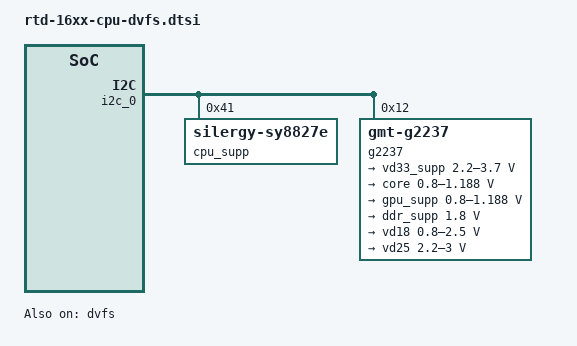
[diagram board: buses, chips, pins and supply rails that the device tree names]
/*
 * RTD-16XX Generic CPU DVFS
 */
#include <dt-bindings/regulator/gmt,g2237.h>
#include <dt-bindings/thermal/thermal.h>

/* PMIC */
&i2c_0 {
	status = "okay";

	cpu_supp: 8827e@00 {
		compatible = "silergy-sy8827e";
		reg = <0x41>;
		regulator-name = "cpudvs";
		regulator-min-microvolt = <712500>;
		regulator-max-microvolt = <1500000>;
		regulator-ramp-delay = <2000>;
		regulator-boot-on;
		regulator-always-on;
		status = "okay";
	};

	g2237: g2237@12 {
		compatible = "gmt-g2237";
		reg = <0x12>;
		status = "okay";

		vd33_supp: dc1 {
			regulator-name = "vd33";
			regulator-min-microvolt = <2200000>;
			regulator-max-microvolt = <3700000>;

			regulator-boot-on;
			regulator-always-on;
			regulator-initial-mode = <G2237_DC_MODE_FORCE_PWM>;

		};
		dc2 {
			regulator-name = "core";
			regulator-min-microvolt = <800000>;
			regulator-max-microvolt = <1187500>;

			regulator-boot-on;
			regulator-always-on;
			regulator-initial-mode = <G2237_DC_MODE_AUTO>;
		};
		gpu_supp: dc3 {
			regulator-name = "gpudvs";
			regulator-min-microvolt = <800000>;
			regulator-max-microvolt = <1187500>;

			regulator-boot-on;
			regulator-always-on;
			regulator-initial-mode = <G2237_DC_MODE_AUTO>;
			regulator-state-mem {
				regulator-off-in-suspend;
			};
		};
		ddr_supp: dc4 {
			regulator-name = "ddr";
			regulator-min-microvolt = <1800000>;
			regulator-max-microvolt = <1800000>;
			regulator-boot-on;
			regulator-always-on;
			regulator-initial-mode = <G2237_DC_MODE_AUTO>;
			regulator-state-coldboot {
				regulator-off-in-suspend;
			};

		};
		dc5 {
			regulator-name = "vd18";
			regulator-min-microvolt = <800000>;
			regulator-max-microvolt = <2500000>;

			regulator-boot-on;
			regulator-always-on;
			regulator-initial-mode = <G2237_DC_MODE_AUTO>;
		};
		ldo1 {
			regulator-name = "vd25";
			regulator-min-microvolt = <2200000>;
			regulator-max-microvolt = <3000000>;

			regulator-boot-on;
			regulator-always-on;
			regulator-initial-mode = <G2237_LDO_MODE_NORMAL>;
			regulator-state-coldboot {
				regulator-off-in-suspend;
			};
		};
	};
};

/* CPU nodes */
&A55_0 {
	clocks = <&cc CC_PLL_SCPU>;
	cpu-supply = <&cpu_supp>;
	operating-points-v2 = <&cpu_opps>;
	cooling-min-level = <0>;
	cooling-max-level = <9>;
	#cooling-cells = <2>;
};

&A55_1 {
	clocks = <&cc CC_PLL_SCPU>;
	cpu-supply = <&cpu_supp>;
	operating-points-v2 = <&cpu_opps>;
	cooling-min-level = <0>;
	cooling-max-level = <9>;
	#cooling-cells = <2>;
};

&A55_2 {
	clocks = <&cc CC_PLL_SCPU>;
	cpu-supply = <&cpu_supp>;
	operating-points-v2 = <&cpu_opps>;
	cooling-min-level = <0>;
	cooling-max-level = <9>;
	#cooling-cells = <2>;
};

&A55_3 {
	clocks = <&cc CC_PLL_SCPU>;
	cpu-supply = <&cpu_supp>;
	operating-points-v2 = <&cpu_opps>;
	cooling-min-level = <0>;
	cooling-max-level = <9>;
	#cooling-cells = <2>;
};

&A55_4 {
	clocks = <&cc CC_PLL_SCPU>;
	cpu-supply = <&cpu_supp>;
	operating-points-v2 = <&cpu_opps>;
	cooling-min-level = <0>;
	cooling-max-level = <9>;
	#cooling-cells = <2>;
};

&A55_5 {
	clocks = <&cc CC_PLL_SCPU>;
	cpu-supply = <&cpu_supp>;
	operating-points-v2 = <&cpu_opps>;
	cooling-min-level = <0>;
	cooling-max-level = <9>;
	#cooling-cells = <2>;
};

/* cpu opp table */
&dvfs {
	cpu-supply = <&cpu_supp>;
	status = "okay";

	cpu_opps: cpu-opp-table {
		compatible = "operating-points-v2";
		opp-shared;
		opp300: opp-300mhz {
			opp-hz = /bits/ 64 <300000000>;
			opp-microvolt = <825000>;
			clock-latency-ns = <150000>;
			status = "okay";
		};
		opp400: opp-400mhz {
			opp-hz = /bits/ 64 <400000000>;
			opp-microvolt = <825000>;
			clock-latency-ns = <150000>;
			status = "okay";
		};
		opp500: opp-500mhz {
			opp-hz = /bits/ 64 <500000000>;
			opp-microvolt = <825000>;
			clock-latency-ns = <150000>;
			status = "okay";
		};
		opp600: opp-600mhz {
			opp-hz = /bits/ 64 <600000000>;
			opp-microvolt = <825000>;
			clock-latency-ns = <150000>;
			status = "okay";
		};
		opp700: opp-700mhz {
			opp-hz = /bits/ 64 <700000000>;
			opp-microvolt = <825000>;
			clock-latency-ns = <150000>;
			status = "okay";
		};
		opp800: opp-800mhz {
			opp-hz = /bits/ 64 <800000000>;
			opp-microvolt = <837500>;
			clock-latency-ns = <150000>;
			status = "okay";
		};
		opp900: opp-900mhz {
			opp-hz = /bits/ 64 <900000000>;
			opp-microvolt = <887500>;
			clock-latency-ns = <150000>;
			status = "okay";
		};
		opp1000: opp-1000mhz {
			opp-hz = /bits/ 64 <1000000000>;
			opp-microvolt = <937500>;
			clock-latency-ns = <150000>;
			status = "okay";
		};
		opp1100: opp-1100mhz {
			opp-hz = /bits/ 64 <1100000000>;
			opp-microvolt = <987500>;
			clock-latency-ns = <150000>;
			status = "okay";
		};
		opp1200: opp-1200mhz {
			opp-hz = /bits/ 64 <1200000000>;
			opp-microvolt = <1025000>;
			clock-latency-ns = <150000>;
			opp-suspend;
			status = "okay";
		};
		opp1300: opp-1300mhz {
			opp-hz = /bits/ 64 <1300000000>;
			opp-microvolt = <1075000>;
			clock-latency-ns = <150000>;
			status = "disabled";
		};
		opp1400: opp-1400mhz {
			opp-hz = /bits/ 64 <1400000000>;
			opp-microvolt = <1150000>;
			clock-latency-ns = <150000>;
			status = "disabled";
		};
		opp1500: opp-1500mhz {
			opp-hz = /bits/ 64 <1500000000>;
			opp-microvolt = <1187500>;
			clock-latency-ns = <150000>;
			status = "disabled";
		};
		opp1600: opp-1600mhz {
			opp-hz = /bits/ 64 <1600000000>;
			opp-microvolt = <1187500>;
			clock-latency-ns = <150000>;
			turbo-mode;
			status = "disabled";
		};
		vopp1400: vopp-1400mhz {
			opp-hz = /bits/ 64 <1400000001>;
			opp-microvolt = <1100000>;
			clock-latency-ns = <150000>;
			turbo-mode;
			status = "disabled";
		};
		vopp1500: vopp-1500mhz {
			opp-hz = /bits/ 64 <1500000001>;
			opp-microvolt = <1100000>;
			clock-latency-ns = <150000>;
			turbo-mode;
			status = "disabled";
		};
	};
};

/*
 * thermal_zone
 *
 * cpu_cdev0 => active over 105 degree Celsius
 * cpu_cdev1 => active over 115 degree Celsius
 *
 * CDEV_ST  FREQUENCY
 *       0       1200
 *       1       1100
 *       2       1000
 *       3        900
 *       4        800  <- max of cpu-map0
 *       5        700  <- min of cpu-map1
 *       6        600
 *       7        500
 *       8        400
 *       9        300
 */
&cpu_thermal {
	trips {
		tm_alert0: cpu-alert0 {
			temperature = <105000>;
			hysteresis = <0>;
			type = "passive";
		};
		tm_alert1: cpu-alert1 {
			temperature = <115000>;
			hysteresis = <0>;
			type = "passive";
		};
	};
	cooling-maps {
		cpu-map0 {
			trip = <&tm_alert0>;
			cooling-device = <&A55_0 THERMAL_NO_LIMIT 4>;
			contribution = <70>;
		};
		cpu-map1 {
			trip = <&tm_alert1>;
			cooling-device = <&A55_0 5 THERMAL_NO_LIMIT>;
			contribution = <70>;
		};
	};
};
